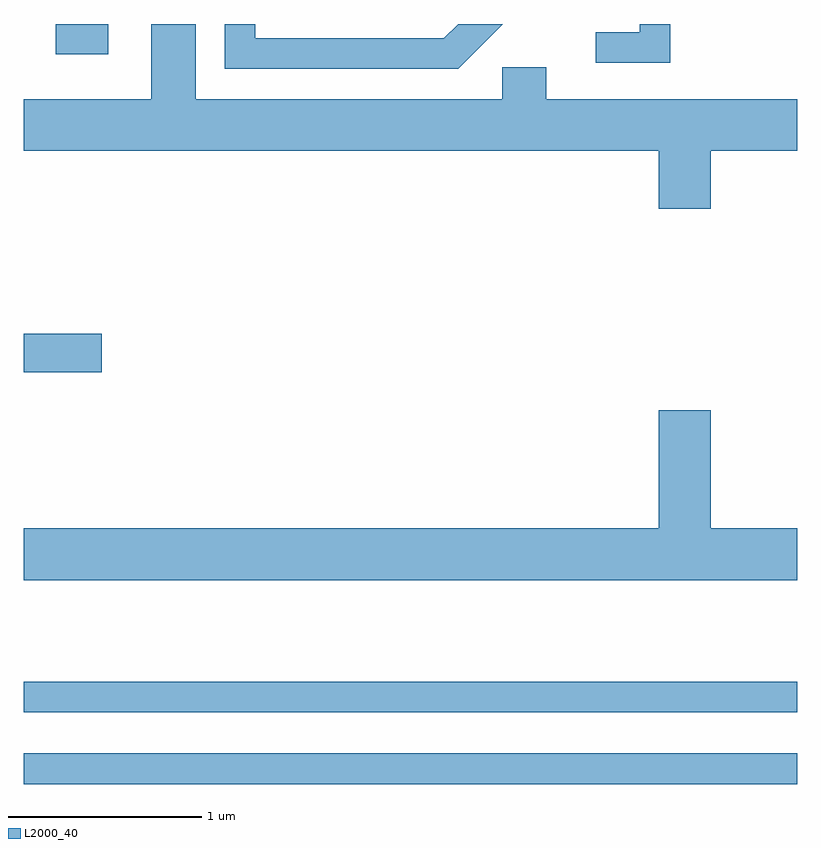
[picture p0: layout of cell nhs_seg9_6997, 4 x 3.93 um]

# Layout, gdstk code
import gdstk
lib = gdstk.Library(unit=1e-6, precision=1e-09)
def R(c, l, rs):  # rectangles x0, y0, x1, y1
    for r in rs: c.add(gdstk.rectangle(r[:2], r[2:], *l))
def P(c, l, *ps):  # polygons
    for p in ps: c.add(gdstk.Polygon(p, *l))
L2000_40 = (2000, 40)

nhs_seg9_6997 = lib.new_cell('nhs_seg9_6997')
R(nhs_seg9_6997, L2000_40, [(391.611,2028.501,395.611,2028.659), (391.611,2028.871,395.611,2029.029), (391.611,2030.631,392.014,2030.829), (391.776,2032.276,392.048,2032.432)])
P(nhs_seg9_6997, L2000_40, [(395.164,2031.776),(395.611,2031.776),(395.611,2032.044),(394.314,2032.044),(394.314,2032.209),(394.086,2032.209),(394.086,2032.044),(392.499,2032.044),(392.499,2032.432),(392.271,2032.432),(392.271,2032.044),(391.611,2032.044),(391.611,2031.776),(394.896,2031.776),(394.896,2031.476),(395.164,2031.476)],
  [(394.954,2032.432),(394.796,2032.432),(394.796,2032.389),(394.568,2032.389),(394.568,2032.231),(394.954,2032.231)],
  [(394.087,2032.432),(393.857,2032.432),(393.784,2032.359),(392.809,2032.359),(392.809,2032.432),(392.651,2032.432),(392.651,2032.201),(393.857,2032.201)],
  [(395.611,2029.824),(395.164,2029.824),(395.164,2030.434),(394.896,2030.434),(394.896,2029.824),(391.611,2029.824),(391.611,2029.556),(395.611,2029.556)])

lib.write_gds('nhs_seg9_6997.gds')
